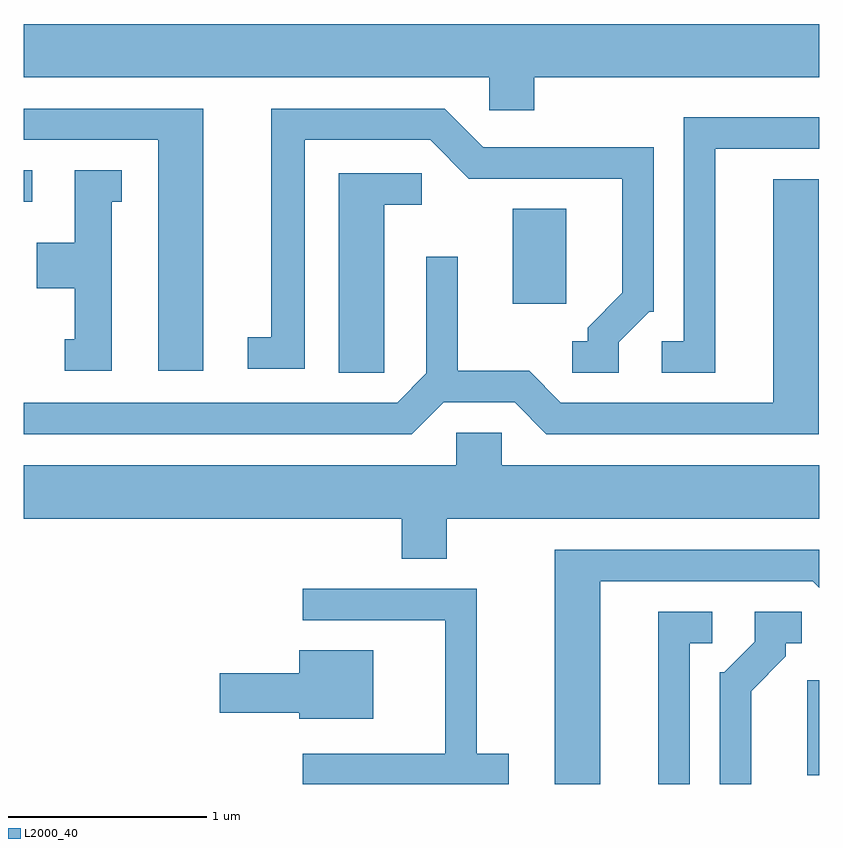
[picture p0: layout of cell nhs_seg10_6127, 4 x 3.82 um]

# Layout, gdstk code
import gdstk
lib = gdstk.Library(unit=1e-6, precision=1e-09)
def R(c, l, rs):  # rectangles x0, y0, x1, y1
    for r in rs: c.add(gdstk.rectangle(r[:2], r[2:], *l))
def P(c, l, *ps):  # polygons
    for p in ps: c.add(gdstk.Polygon(p, *l))
L2000_40 = (2000, 40)

nhs_seg10_6127 = lib.new_cell('nhs_seg10_6127')
R(nhs_seg10_6127, L2000_40, [(369.551,2172.566,369.611,2173.044), (368.071,2174.936,368.339,2175.414), (365.611,2175.451,365.653,2175.609)])
P(nhs_seg10_6127, L2000_40, [(368.179,2176.076),(369.611,2176.076),(369.611,2176.344),(365.611,2176.344),(365.611,2176.076),(367.951,2176.076),(367.951,2175.911),(368.179,2175.911)],
  [(368.604,2174.744),(368.757,2174.896),(368.779,2174.896),(368.779,2175.724),(367.922,2175.724),(367.727,2175.919),(366.856,2175.919),(366.856,2174.769),(366.738,2174.769),(366.738,2174.611),(367.024,2174.611),(367.024,2175.761),(367.654,2175.761),(367.849,2175.566),(368.621,2175.566),(368.621,2174.992),(368.446,2174.817),(368.446,2174.749),(368.368,2174.749),(368.368,2174.591),(368.604,2174.591)],
  [(366.514,2175.919),(365.611,2175.919),(365.611,2175.761),(366.286,2175.761),(366.286,2174.601),(366.514,2174.601)],
  [(369.089,2175.716),(369.611,2175.716),(369.611,2175.874),(368.931,2175.874),(368.931,2174.749),(368.818,2174.749),(368.818,2174.591),(369.089,2174.591)],
  [(366.054,2175.451),(366.103,2175.451),(366.103,2175.609),(365.866,2175.609),(365.866,2175.244),(365.676,2175.244),(365.676,2175.016),(365.866,2175.016),(365.866,2174.759),(365.818,2174.759),(365.818,2174.601),(366.054,2174.601)],
  [(367.424,2175.436),(367.613,2175.436),(367.613,2175.594),(367.196,2175.594),(367.196,2174.591),(367.424,2174.591)],
  [(367.722,2174.441),(368.079,2174.441),(368.239,2174.281),(369.609,2174.281),(369.609,2175.564),(369.381,2175.564),(369.381,2174.439),(368.312,2174.439),(368.152,2174.599),(367.794,2174.599),(367.794,2175.173),(367.636,2175.173),(367.636,2174.587),(367.489,2174.439),(365.611,2174.439),(365.611,2174.281),(367.562,2174.281)],
  [(367.739,2173.856),(369.611,2173.856),(369.611,2174.124),(368.014,2174.124),(368.014,2174.289),(367.786,2174.289),(367.786,2174.124),(365.611,2174.124),(365.611,2173.856),(367.511,2173.856),(367.511,2173.656),(367.739,2173.656)],
  [(368.509,2173.541),(369.579,2173.541),(369.611,2173.509),(369.611,2173.699),(368.281,2173.699),(368.281,2172.522),(368.509,2172.522)],
  [(368.049,2172.674),(367.889,2172.674),(367.889,2173.504),(367.013,2173.504),(367.013,2173.346),(367.731,2173.346),(367.731,2172.674),(367.013,2172.674),(367.013,2172.522),(368.049,2172.522)],
  [(368.959,2173.231),(369.073,2173.231),(369.073,2173.389),(368.801,2173.389),(368.801,2172.522),(368.959,2172.522)],
  [(369.269,2172.989),(369.444,2173.164),(369.444,2173.231),(369.523,2173.231),(369.523,2173.389),(369.286,2173.389),(369.286,2173.237),(369.134,2173.084),(369.111,2173.084),(369.111,2172.522),(369.269,2172.522)],
  [(367.369,2173.194),(366.996,2173.194),(366.996,2173.079),(366.596,2173.079),(366.596,2172.881),(366.996,2172.881),(366.996,2172.851),(367.369,2172.851)])

lib.write_gds('nhs_seg10_6127.gds')
